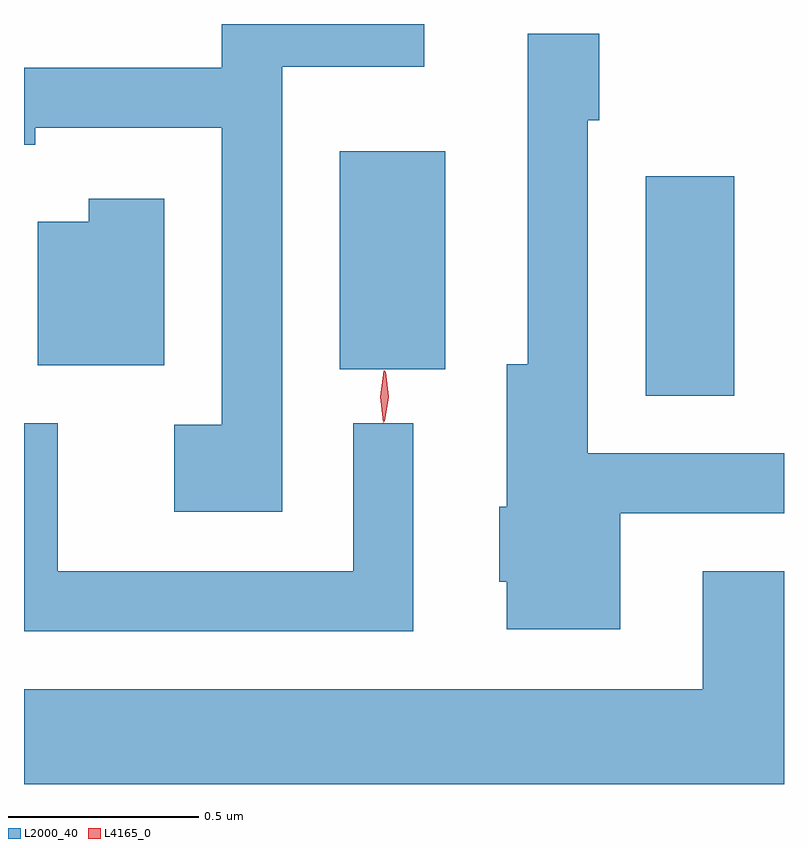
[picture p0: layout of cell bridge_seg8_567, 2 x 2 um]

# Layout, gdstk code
import gdstk
lib = gdstk.Library(unit=1e-6, precision=1e-09)
def R(c, l, rs):  # rectangles x0, y0, x1, y1
    for r in rs: c.add(gdstk.rectangle(r[:2], r[2:], *l))
def P(c, l, *ps):  # polygons
    for p in ps: c.add(gdstk.Polygon(p, *l))
L2000_40 = (2000, 40)
L4165_0 = (4165, 0)

bridge_seg8_567 = lib.new_cell('bridge_seg8_567')
R(bridge_seg8_567, L2000_40, [(458.001,1848.556,458.234,1849.134), (457.196,1848.626,457.474,1849.199)])
P(bridge_seg8_567, L2000_40, [(457.044,1849.421),(457.418,1849.421),(457.418,1849.534),(456.886,1849.534),(456.886,1849.419),(456.365,1849.419),(456.365,1849.216),(456.394,1849.216),(456.394,1849.261),(456.886,1849.261),(456.886,1848.479),(456.761,1848.479),(456.761,1848.251),(457.044,1848.251)],
  [(457.934,1848.246),(458.365,1848.246),(458.365,1848.404),(457.849,1848.404),(457.849,1849.281),(457.879,1849.281),(457.879,1849.509),(457.691,1849.509),(457.691,1848.639),(457.636,1848.639),(457.636,1848.264),(457.616,1848.264),(457.616,1848.066),(457.636,1848.066),(457.636,1847.941),(457.934,1847.941)],
  [(456.734,1849.074),(456.536,1849.074),(456.536,1849.014),(456.401,1849.014),(456.401,1848.636),(456.734,1848.636)],
  [(457.389,1848.483),(457.231,1848.483),(457.231,1848.094),(456.454,1848.094),(456.454,1848.483),(456.365,1848.483),(456.365,1847.936),(457.389,1847.936)],
  [(458.365,1848.094),(458.151,1848.094),(458.151,1847.784),(456.365,1847.784),(456.365,1847.534),(458.365,1847.534)])
P(bridge_seg8_567, L4165_0, [(457.312,1848.488),(457.305,1848.554),(457.316,1848.619),(457.317,1848.619),(457.317,1848.619),(457.325,1848.553),(457.314,1848.488),(457.313,1848.488)],
  [(457.31,1848.484),(457.31,1848.485),(457.302,1848.553),(457.312,1848.621),(457.313,1848.622),(457.314,1848.621),(457.322,1848.553),(457.311,1848.485)])

lib.write_gds('bridge_seg8_567.gds')
